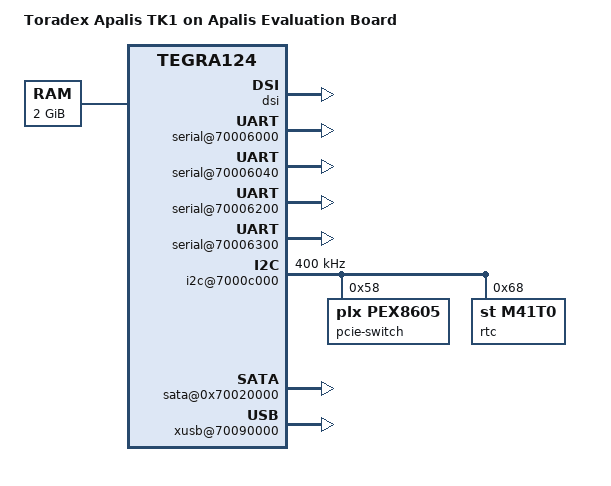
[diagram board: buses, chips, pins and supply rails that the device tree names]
/dts-v1/;

#include "tegra124-soc-shield.dtsi"
/* ↓ DONE ↓ */
#include "tegra124-platforms/tegra124-tn8-keys-e1780-1100-a02.dtsi"
/* ↓ DONE ↓ */
#include "tegra124-platforms/tegra124-jetson_tk1-gpio-pm375-0000-c00-00.dtsi"
/* ↓ DONE ↓ */
#include "tegra124-platforms/tegra124-jetson_tk1-pinmux-pm375-0000-c00-00.dtsi"
#include "tegra124-platforms/tegra124-jetson-power-tree-pm375-0000-c00.dtsi"
#include "panel-p-wuxga-10-1.dtsi"
#include "tegra124-platforms/tegra124-laguna-hdmi-pm375-1000-a00.dtsi"
/* #include "tegra124-platforms/tegra124-pm359-camera-a00.dtsi" */

/ {
	model = "Toradex Apalis TK1 on Apalis Evaluation Board";
	compatible = "nvidia,jetson-tk1",
			"toradex,apalis-tk1-v1.2-eval", "toradex,apalis-tk1-eval",
			"toradex,apalis-tk1", "nvidia,tegra124";
	nvidia,dtsfilename = __FILE__;
	#address-cells = <2>;
	#size-cells = <2>;

	chosen {
		bootargs = "tegraid=40.0.0.00.00 vmalloc=256M video=tegrafb console=ttyS0,115200n8 earlyprintk";
	};

	psci {
		status = "disabled";
	};

	firmware {
		android {
			compatible = "android,firmware";
			hardware = "tegra";
		};
	};

	host1x {
		/* tegradc.0 */
		dc@54200000 {
			status = "okay";
			nvidia,dc-flags = <TEGRA_DC_FLAG_ENABLED>;
			nvidia,emc-clk-rate = <144000000>;
			nvidia,cmu-enable = <1>;
			nvidia,low-v-win = <0x2>;
			nvidia,fb-bpp = <32>; /* bits per pixel */
			nvidia,fb-flags = <TEGRA_FB_FLIP_ON_PROBE>;

			/* nvidia,dc-or-node = "/host1x/sor"; */

			/* avdd_dsi_csi-supply = <&as3722_ldo2>; */
			/* avdd_lcd-supply = <&as3722_gpio4_supply>; */
			/* dvdd_lcd-supply = <&reg_1v8_supply>; */
			/* vdd_lcd_bl-supply = <&vdd_lcd_bl>; */
			/* vdd_lcd_bl_en-supply = <&vdd_lcd_bl_en>; */
		};
		/* tegradc.1 */
		dc@54240000 {
			status = "okay";
			nvidia,dc-flags = <TEGRA_DC_FLAG_ENABLED>;
			nvidia,emc-clk-rate = <300000000>;
			nvidia,fb-bpp = <32>; /* bits per pixel */
			nvidia,fb-flags = <TEGRA_FB_FLIP_ON_PROBE>;

			nvidia,dc-or-node = "/host1x/sor1";

			avdd_hdmi-supply = <&as3722_sd4>;
			avdd_hdmi_pll-supply = <&avdd_hdmi_pll>;
			vdd_hdmi_5v0-supply = <&vdd_hdmi>;
		};
		dsi {
			nvidia,dsi-controller-vs = <1>;
			status = "okay";
			panel-p-wuxga-10-1 {
				nvidia,dsi-dpd-pads = <DSIC_DPD_EN DSID_DPD_EN>;
				nvidia,panel-rst-gpio = <&gpio TEGRA_GPIO(H, 3) 0>; /* PH3 */
				nvidia,panel-bl-pwm-gpio = <&gpio TEGRA_GPIO(H, 1) 0>; /* PH1 */
			};
		};
	};

	/* TBD */
	pinmux@70000868 {
		pinctrl-names = "default", "drive", "unused", "suspend";
		pinctrl-3 = <&pinmux_suspend>;

		/* Change the pin dap_mclk1_req to required configurations */
		unused_lowpower {
			dap_mclk1_req_pee2 {
				nvidia,pins = "dap_mclk1_req_pee2";
				nvidia,function = "sata";
				nvidia,enable-input = <TEGRA_PIN_DISABLE>;
				nvidia,pull = <TEGRA_PIN_PULL_NONE>;
				nvidia,tristate = <TEGRA_PIN_DISABLE>;
			};
		};

		/* On suspend, make dap_mclk1_req to pull up */
		pinmux_suspend: pins_on_suspend {
			dap_mclk1_req_pee2 {
				nvidia,pins = "dap_mclk1_req_pee2";
				nvidia,pull = <TEGRA_PIN_PULL_UP>;
			};
		};
	};

	/* Apalis UART1 */
	serial@70006000 {
		compatible = "nvidia,tegra114-uart", "nvidia,tegra20-uart";
		console-port;
		sqa-automation-port;
		status = "okay";
	};

	/* Apalis UART2 */
	serial@70006040 {
		compatible = "nvidia,tegra114-hsuart";
		status = "okay";
	};

	/* Apalis UART3 */
	serial@70006200 {
		compatible = "nvidia,tegra114-hsuart";
		status = "okay";
	};

	/* Apalis UART4 */
	serial@70006300 {
		compatible = "nvidia,tegra114-hsuart";
		status = "okay";
	};

	/*
	 * GEN1_I2C: I2C1_SDA/SCL on MXM3 pin 209/211 (e.g. RTC on carrier
	 * board)
	 */
	i2c@7000c000 {
		status = "okay";
		clock-frequency = <400000>;

		pcie-switch@58 {
			compatible = "plx,pex8605";
			reg = <0x58>;
		};

		/* M41T0M6 real time clock on carrier board */
		rtc@68 {
			compatible = "st,m41t0";
			reg = <0x68>;
		};
	};

	/* PWR_I2C: power I2C to audio codec, PMIC and temperature sensor */
	i2c@7000d000 {
		nvidia,bit-banging-xfer-after-shutdown;
	};

	memory@0x80000000 {
		device_type = "memory";
		reg = <0x0 0x80000000 0x0 0x80000000>;
	};

	/* TBD */
	camera-pcl {
		profiles {
			ov4689@2_0036 {
				use_of_node = "yes";
				reset-gpios = <&gpio TEGRA_GPIO(BB, 3) 0>;
				cam1-gpios = <&gpio TEGRA_GPIO(BB, 5) 0>;
			};
			imx185@2_001A {
				use-of-node = "yes";
				cam1-gpios = <&gpio TEGRA_GPIO(BB, 5) 0>;
			};
		};
		dpd {
			default-enable;
		};
	};

	/* SPI1: Apalis SPI1 */
	spi@7000d400 {
		status = "disabled";
		spi-max-frequency = <25000000>;

		spidev0: spidev@0 {
			status = "disabled";
			compatible = "spidev";
			reg = <0>;
			spi-max-frequency = <25000000>;
		};
	};

	/* SPI2: MCU SPI */
	spi@7000d600 {
		status = "disabled";
		spi-max-frequency = <6000000>;

		k20mcu: apalis-tk1-k20@1 {
			status = "disabled";
			compatible = "toradex,apalis-tk1-k20";
			reg = <1>;
			spi-max-frequency = <6000000>;
			interrupt-parent =<&gpio>;
			interrupts = <TEGRA_GPIO(K, 2) IRQ_TYPE_EDGE_FALLING>;
			rst-gpio = <&gpio TEGRA_GPIO(BB, 6) GPIO_ACTIVE_HIGH>;

			/* GPIO based CS used to enter K20 EzPort mode */
			ezport-cs-gpio = <&gpio TEGRA_GPIO(W, 2) GPIO_ACTIVE_HIGH>;
			/* extra INT lines between K20 and TK1 */
			int2-gpio = <&gpio TEGRA_GPIO(J, 2) GPIO_ACTIVE_HIGH>;
			int3-gpio = <&gpio TEGRA_GPIO(I, 5) GPIO_ACTIVE_HIGH>;
			int4-gpio = <&gpio TEGRA_GPIO(J, 0) GPIO_ACTIVE_HIGH>;

			toradex,apalis-tk1-k20-uses-adc;
			toradex,apalis-tk1-k20-uses-can;
			toradex,apalis-tk1-k20-uses-gpio;
			toradex,apalis-tk1-k20-uses-tsc;

			controller-data {
				nvidia,enable-hw-based-cs;
				nvidia,cs-setup-clk-count = <12>;
				nvidia,cs-hold-clk-count = <12>;
			};
		};

		/*
		 * spidev for K20 EzPort, can be used with custom firmware for
		 * userspace K20 applications
		 */
		spidev2: spidev@2 {
			status = "disabled";
			compatible = "spidev";
			reg = <2>;
			spi-max-frequency = <2000000>;
		};
	};

	/* SPI4: Apalis SPI2 */
	spi@7000da00 {
		status = "disabled";
		spi-max-frequency = <25000000>;

		spidev3: spidev@0 {
			compatible = "spidev";
			reg = <0>;
			spi-max-frequency = <25000000>;
		};
	};

	pmc@7000e400 {
		status = "okay";
		nvidia,invert-interrupt;
		nvidia,suspend-mode = <0>;
		nvidia,cpu-pwr-good-time = <500>;
		nvidia,cpu-pwr-off-time = <300>;
		nvidia,core-pwr-good-time = <3845 3845>;
		nvidia,core-pwr-off-time = <2000>;
		nvidia,core-power-req-active-high;
		nvidia,sys-clock-req-active-high;
		nvidia,lp0-vec = <0xf46ff000 2064>;
	};

	pcie-controller {
		nvidia,port0_status = <1>;
		nvidia,port1_status = <1>;
		hvdd_pex-supply = <&reg_3v3>;
		avdd_pex_pll-supply = <&as3722_sd4>;
		status = "disabled";
	};

	sata@0x70020000 {
		nvidia,enable-sata-port;
		nvidia,sata-connector-type=<STANDARD_SATA>;
		vdd_sata-supply = <&as3722_sd4>;
		avdd_sata_pll-supply =<&as3722_sd4>;
		avdd_sata-supply = <&as3722_sd4>;
		hvdd_sata-supply = <&reg_3v3>;
		vddio_pex_sata-supply = <&reg_3v3>;
		status = "okay";
	};

	/* TBD */
	xusb@70090000 {
		/* nvidia,uses_external_pmic;
		nvidia,gpio_controls_muxed_ss_lanes; */
		nvidia,gpio_ss1_sata = <0>;
		nvidia,portmap = <0x0703>; /* SSP0, SSP1, USB2P0, USB2P1, USB2P2 */
		nvidia,ss_portmap = <0x10>; /* SSP0 on USB2P0, SSP1 on USB2P1 */
		nvidia,lane_owner = <6>; /* USB3P0 USB3P1 */
		nvidia,ulpicap = <0>; /* No ulpi support. can we remove */
		/* nvidia,supply_utmi_vbuses = "usb_vbus0", "usb_vbus1", "usb_vbus2";
		nvidia,supply_s3p3v = "hvdd_usb";
		nvidia,supply_s1p8v = "avdd_pll_utmip";
		nvidia,supply_s1p05v = "avddio_usb"; */
		status = "okay";
	};
};
